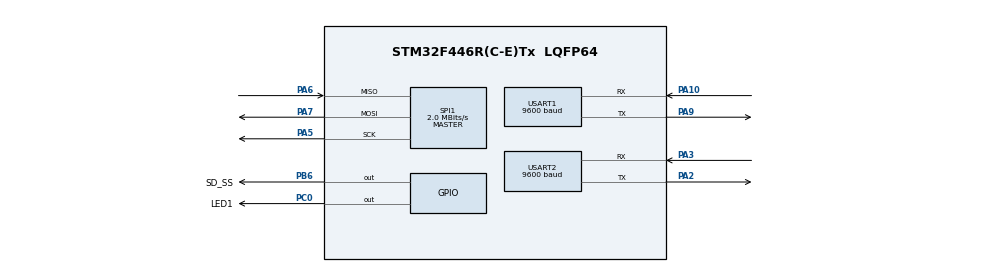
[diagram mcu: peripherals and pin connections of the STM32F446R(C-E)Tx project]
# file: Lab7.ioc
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FATFS._MAX_SS=4096
FATFS._USE_LFN=1
Mcu.Family=STM32F4
Mcu.Name=STM32F446R(C-E)Tx
Mcu.Package=LQFP64
NVIC.PriorityGroup=NVIC_PRIORITYGROUP_4
NVIC.USART1_IRQn=true\:0\:0\:false\:false\:true\:true\:true\:true
NVIC.USART2_IRQn=true\:0\:0\:false\:false\:true\:true\:true\:true
PA10.Mode=Asynchronous
PA10.Signal=USART1_RX
PA13.Mode=Serial_Wire
PA13.Signal=SYS_JTMS-SWDIO
PA14.Mode=Serial_Wire
PA14.Signal=SYS_JTCK-SWCLK
PA2.Mode=Asynchronous
PA2.Signal=USART2_TX
PA3.Mode=Asynchronous
PA3.Signal=USART2_RX
PA5.Mode=Full_Duplex_Master
PA5.Signal=SPI1_SCK
PA6.Mode=Full_Duplex_Master
PA6.Signal=SPI1_MISO
PA7.Mode=Full_Duplex_Master
PA7.Signal=SPI1_MOSI
PA9.Mode=Asynchronous
PA9.Signal=USART1_TX
PB6.GPIO_Label=SD_SS
PB6.GPIO_Speed=GPIO_SPEED_FREQ_MEDIUM
PB6.PinState=GPIO_PIN_SET
PB6.Signal=GPIO_Output
PC0.GPIO_Label=LED1
PC0.Signal=GPIO_Output
PH0-OSC_IN.Mode=HSE-External-Oscillator
PH0-OSC_IN.Signal=RCC_OSC_IN
PH1-OSC_OUT.Mode=HSE-External-Oscillator
PH1-OSC_OUT.Signal=RCC_OSC_OUT
ProjectManager.HeapSize=0x200
ProjectManager.StackSize=0x400
ProjectManager.TargetToolchain=STM32CubeIDE
RCC.CortexFreq_Value=16000000
RCC.USBFreq_Value=96000000
RCC.VCOOutputFreq_Value=192000000
SPI1.BaudRatePrescaler=SPI_BAUDRATEPRESCALER_8
SPI1.CalculateBaudRate=2.0 MBits/s
SPI1.Direction=SPI_DIRECTION_2LINES
SPI1.Mode=SPI_MODE_MASTER
SPI1.VirtualType=VM_MASTER
USART1.BaudRate=9600
USART1.VirtualMode=VM_ASYNC
USART2.BaudRate=9600
USART2.VirtualMode=VM_ASYNC
VP_FATFS_VS_Generic.Mode=User_defined
board=custom

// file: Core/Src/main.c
/* USER CODE BEGIN Header */
/**
  ******************************************************************************
  * @file           : main.c
  * @brief          : Main program body
  ******************************************************************************
  * @attention
  *
  * Copyright (c) 2024 STMicroelectronics.
  * All rights reserved.
  *
  * This software is licensed under terms that can be found in the LICENSE file
  * in the root directory of this software component.
  * If no LICENSE file comes with this software, it is provided AS-IS.
  *
  ******************************************************************************
  */
/* USER CODE END Header */
#include "main.h"
#include "fatfs.h"

/* USER CODE BEGIN Includes */
#include "fatfs_sd.h"
#include "string.h"
#include "stdio.h"
/* USER CODE END Includes */

/* USER CODE BEGIN PD */
SPI_HandleTypeDef hspi1;
FATFS fs;
FATFS *pfs;
FIL fil;
FRESULT fres;
DWORD fre_clust;
uint32_t totalSpace, freeSpace;
char buffer[400];
uint8_t option[1];
char menu[] = "Ingrese el numero del sprite que desea visualizar: \r\n 1. Fireman\r\n 2. Iceman\r\n 3. Bombman\r\n";
uint8_t tx_buffer[20];		//BUFFER DE TAMAÑO 1 QUE TRANSMITE DATOS
uint8_t estado = 0;
/* USER CODE END PD */

SPI_HandleTypeDef hspi1;

UART_HandleTypeDef huart1;
UART_HandleTypeDef huart2;

void SystemClock_Config(void);
static void MX_GPIO_Init(void);
static void MX_SPI1_Init(void);
static void MX_USART2_UART_Init(void);
static void MX_USART1_UART_Init(void);

/* USER CODE BEGIN 0 */
void handle_sd_card_operations(const char *filename);
void transmit_uart(char *message);
/* USER CODE END 0 */

int main(void)
{

  /* MCU Configuration--------------------------------------------------------*/

  /* Reset of all peripherals, Initializes the Flash interface and the Systick. */
  HAL_Init();

  /* Configure the system clock */
  SystemClock_Config();

  /* Initialize all configured peripherals */
  MX_GPIO_Init();
  MX_SPI1_Init();
  MX_FATFS_Init();
  MX_USART2_UART_Init();
  MX_USART1_UART_Init();
  /* USER CODE BEGIN 2 */
  HAL_UART_Receive_IT(&huart2, option, 1);  // EMPEZAR RECEPCIÓN
  transmit_uart2(menu);

  /* USER CODE END 2 */

  /* Infinite loop */
  while (1)
  {
	  if (estado == 1){
		  handle_sd_card_operations("fire.txt");
	  }else if (estado == 2){
		  handle_sd_card_operations("ice.txt");
	  }else if (estado ==3){
		  handle_sd_card_operations("bomb.txt");
	  }
  }
}

void SystemClock_Config(void)
{
  RCC_OscInitTypeDef RCC_OscInitStruct = {0};
  RCC_ClkInitTypeDef RCC_ClkInitStruct = {0};

  /** Configure the main internal regulator output voltage
  */
  __HAL_RCC_PWR_CLK_ENABLE();
  __HAL_PWR_VOLTAGESCALING_CONFIG(PWR_REGULATOR_VOLTAGE_SCALE3);

  /** Initializes the RCC Oscillators according to the specified parameters
  * in the RCC_OscInitTypeDef structure.
  */
  RCC_OscInitStruct.OscillatorType = RCC_OSCILLATORTYPE_HSI;
  RCC_OscInitStruct.HSIState = RCC_HSI_ON;
  RCC_OscInitStruct.HSICalibrationValue = RCC_HSICALIBRATION_DEFAULT;
  RCC_OscInitStruct.PLL.PLLState = RCC_PLL_NONE;
  if (HAL_RCC_OscConfig(&RCC_OscInitStruct) != HAL_OK)
  {
    Error_Handler();
  }

  /** Initializes the CPU, AHB and APB buses clocks
  */
  RCC_ClkInitStruct.ClockType = RCC_CLOCKTYPE_HCLK|RCC_CLOCKTYPE_SYSCLK
                              |RCC_CLOCKTYPE_PCLK1|RCC_CLOCKTYPE_PCLK2;
  RCC_ClkInitStruct.SYSCLKSource = RCC_SYSCLKSOURCE_HSI;
  RCC_ClkInitStruct.AHBCLKDivider = RCC_SYSCLK_DIV1;
  RCC_ClkInitStruct.APB1CLKDivider = RCC_HCLK_DIV1;
  RCC_ClkInitStruct.APB2CLKDivider = RCC_HCLK_DIV1;

  if (HAL_RCC_ClockConfig(&RCC_ClkInitStruct, FLASH_LATENCY_0) != HAL_OK)
  {
    Error_Handler();
  }
}

static void MX_SPI1_Init(void)
{

  /* SPI1 parameter configuration*/
  hspi1.Instance = SPI1;
  hspi1.Init.Mode = SPI_MODE_MASTER;
  hspi1.Init.Direction = SPI_DIRECTION_2LINES;
  hspi1.Init.DataSize = SPI_DATASIZE_8BIT;
  hspi1.Init.CLKPolarity = SPI_POLARITY_LOW;
  hspi1.Init.CLKPhase = SPI_PHASE_1EDGE;
  hspi1.Init.NSS = SPI_NSS_SOFT;
  hspi1.Init.BaudRatePrescaler = SPI_BAUDRATEPRESCALER_8;
  hspi1.Init.FirstBit = SPI_FIRSTBIT_MSB;
  hspi1.Init.TIMode = SPI_TIMODE_DISABLE;
  hspi1.Init.CRCCalculation = SPI_CRCCALCULATION_DISABLE;
  hspi1.Init.CRCPolynomial = 10;
  if (HAL_SPI_Init(&hspi1) != HAL_OK)
  {
    Error_Handler();
  }

}

static void MX_USART1_UART_Init(void)
{

  huart1.Instance = USART1;
  huart1.Init.BaudRate = 9600;
  huart1.Init.WordLength = UART_WORDLENGTH_8B;
  huart1.Init.StopBits = UART_STOPBITS_1;
  huart1.Init.Parity = UART_PARITY_NONE;
  huart1.Init.Mode = UART_MODE_TX_RX;
  huart1.Init.HwFlowCtl = UART_HWCONTROL_NONE;
  huart1.Init.OverSampling = UART_OVERSAMPLING_16;
  if (HAL_UART_Init(&huart1) != HAL_OK)
  {
    Error_Handler();
  }

}

static void MX_USART2_UART_Init(void)
{

  huart2.Instance = USART2;
  huart2.Init.BaudRate = 9600;
  huart2.Init.WordLength = UART_WORDLENGTH_8B;
  huart2.Init.StopBits = UART_STOPBITS_1;
  huart2.Init.Parity = UART_PARITY_NONE;
  huart2.Init.Mode = UART_MODE_TX_RX;
  huart2.Init.HwFlowCtl = UART_HWCONTROL_NONE;
  huart2.Init.OverSampling = UART_OVERSAMPLING_16;
  if (HAL_UART_Init(&huart2) != HAL_OK)
  {
    Error_Handler();
  }

}

static void MX_GPIO_Init(void)
{
  GPIO_InitTypeDef GPIO_InitStruct = {0};

  /* GPIO Ports Clock Enable */
  __HAL_RCC_GPIOH_CLK_ENABLE();
  __HAL_RCC_GPIOC_CLK_ENABLE();
  __HAL_RCC_GPIOA_CLK_ENABLE();
  __HAL_RCC_GPIOB_CLK_ENABLE();

  /*Configure GPIO pin Output Level */
  HAL_GPIO_WritePin(LED1_GPIO_Port, LED1_Pin, GPIO_PIN_RESET);

  /*Configure GPIO pin Output Level */
  HAL_GPIO_WritePin(SD_SS_GPIO_Port, SD_SS_Pin, GPIO_PIN_SET);

  /*Configure GPIO pin : LED1_Pin */
  GPIO_InitStruct.Pin = LED1_Pin;
  GPIO_InitStruct.Mode = GPIO_MODE_OUTPUT_PP;
  GPIO_InitStruct.Pull = GPIO_NOPULL;
  GPIO_InitStruct.Speed = GPIO_SPEED_FREQ_LOW;
  HAL_GPIO_Init(LED1_GPIO_Port, &GPIO_InitStruct);

  /*Configure GPIO pin : SD_SS_Pin */
  GPIO_InitStruct.Pin = SD_SS_Pin;
  GPIO_InitStruct.Mode = GPIO_MODE_OUTPUT_PP;
  GPIO_InitStruct.Pull = GPIO_NOPULL;
  GPIO_InitStruct.Speed = GPIO_SPEED_FREQ_MEDIUM;
  HAL_GPIO_Init(SD_SS_GPIO_Port, &GPIO_InitStruct);

}

/* USER CODE BEGIN 4 */

void handle_sd_card_operations(const char *filename) {
    FRESULT fres;
    HAL_Delay(500); // Retardo para estabilización
    FIL fil;
    char buffer[100];

    // 1. Montar SD
    fres = f_mount(&fs, "/", 0);
    if (fres == FR_OK) {
        //transmit_uart("Micro SD card is mounted successfully!\r\n");
    } else {
        //transmit_uart("Micro SD card's mount error!\r\n");
        return; // Salir si no se puede montar la tarjeta
    }

    // 2. Abrir archivo
    fres = f_open(&fil, filename, FA_OPEN_APPEND | FA_WRITE | FA_READ);
    if (fres == FR_OK) {
        //transmit_uart("File opened for reading.\r\n");
    } else {
        //transmit_uart("File was not opened for reading!\r\n");
        f_mount(NULL, "", 1); // Desmontar SD en caso de error
        return;
    }

 /*/ 3. Leer archivo

    while (f_gets(buffer, sizeof(buffer), &fil)) {
        char mRd[100];
        sprintf(mRd, "%s", buffer);
        transmit_uart(mRd);
    }*/
    // 3.1 Comprobar si el archivo está vacío
    if (f_eof(&fil)) {
        // Si el archivo está vacío, podemos escribir datos iniciales.
        // Mover el puntero del archivo al inicio para preparar la escritura.
        f_lseek(&fil, 0);
    }

    // 3. Leer el archivo línea por línea
    int line_count = 0; // Inicializar un contador para las líneas leídas
    while (f_gets(buffer, sizeof(buffer), &fil)) {
        // Incrementar el contador de líneas por cada línea leída
        line_count++;
        // Declarar un arreglo para formatear la línea leída
        char formatted_line[200];
        // Copiar el contenido del buffer a formatted_line
        sprintf(formatted_line, "%s", buffer);
        // Transmitir la línea formateada a través de UART
        transmit_uart2(formatted_line);
        transmit_uart2("\r\n");
    }

	/*if (line_count > 0) {
		transmit_uart("Total lines read: ");
		char line_count_str[10];
		sprintf(line_count_str, "%d\r\n", line_count);
		transmit_uart(line_count_str);
	} else {
		transmit_uart("No lines read from file!\r\n");
	}*/

    // 4. Escribir en el archivo (comentar o personalizar según necesidad)
    /* for (uint8_t i = 0; i < 10; i++) {
        f_puts("Hola Mundo.\n", &fil);
    } */

    // 5. Cerrar archivo
    fres = f_close(&fil);
    if (fres == FR_OK) {
        //transmit_uart("The file is closed.\r\n");
    } else {
        //transmit_uart("The file was not closed.\r\n");
    }

    // 6. Desmontar SD
    f_mount(NULL, "", 1);
    if (fres == FR_OK) {
        //transmit_uart("The Micro SD card is unmounted!\r\n");
    } else {
        //transmit_uart("The Micro SD was not unmounted!\r\n");
    }

    estado = 0;
    HAL_UART_Receive_IT(&huart2, option, 1);	//RESET
    transmit_uart2(menu);
}

void transmit_uart1(char *message) {
    HAL_UART_Transmit(&huart1, (uint8_t*)message, strlen(message), HAL_MAX_DELAY);
}

void transmit_uart2(char *message) {
    HAL_UART_Transmit(&huart2, (uint8_t*)message, strlen(message), HAL_MAX_DELAY);
}

void HAL_UART_RxCpltCallback(UART_HandleTypeDef *huart)
{
	if(huart->Instance == USART2){
		//HAL_GPIO_WritePin(LED1_GPIO_Port, LED1_Pin, GPIO_PIN_SET);
		HAL_GPIO_TogglePin(LED1_GPIO_Port, LED1_Pin);
		switch (option[0]){
			case '1':
				strcpy(tx_buffer, "\r\n");
				estado = 1;
				break;
			case '2':
				strcpy(tx_buffer, "\r\n");
				estado = 2;
				break;
			case '3':
				strcpy(tx_buffer, "\r\n");
				estado = 3;
				break;
			default:

				break;
		}
		HAL_UART_Transmit(&huart2, tx_buffer, strlen(tx_buffer), 10);
	}		//SI LA INTERRUPCIÓN VIENE DEL UART1
}
/* USER CODE END 4 */

void Error_Handler(void)
{
  __disable_irq();
  while (1)
  {
  }
}
